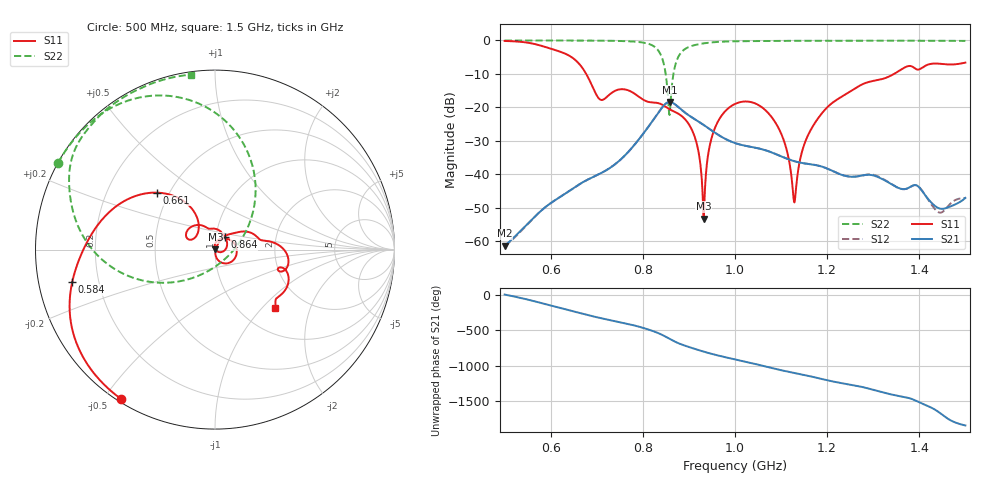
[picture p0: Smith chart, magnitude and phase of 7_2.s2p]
! TOUCHSTONE file generated by CST MICROWAVE STUDIO
! Date and time: Wed Oct 28 19:34:23 2020
! Project name: Scenario_1_Circular_Tissue_out_of_Line_v2.cst
! Parameters = {dy1=-242.2; L_HA=400; MT=2.54; Rad_Dielectric=30; Rad_Lower=7.3; Rad_Upper=30; a_HA=580; a_WG=246; b_HA=500; b_WG=121; c_HA=0; c_WG=187; d_feed=85; dx1=346; h_feed=15; h_lower=18; h_upper=40}
! Header version: 2018
! Port assignment regex: !\s*Touchstone port\s*([0-9]+)\s*=\s*(CST MWS port|CST DS port)\s*([0-9]+|Zmin|Zmax)\s*\(\"(.*)\"\)(\s*mode\s*([0-9]+))?.*
! Touchstone port assignment:
! Touchstone port 1 = CST MWS port 1 ("")
! Touchstone port 2 = CST MWS port 2 ("")
# GHz S DB R 50
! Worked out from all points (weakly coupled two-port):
!   1003 points, 500 MHz to 1.5 GHz, reference 50 ohm
!   highest |S21| = -18.39 dB at 858 MHz (marker M1); lowest = -61.4 dB at 500 MHz (marker M2)
!   lowest |S11| = -53.2 dB at 932 MHz (marker M3), VSWR 1.00, Z = 50.2 + j0.109 ohm
!   |S11| at or under -10 dB: 677 MHz to 1.345 GHz (668.2 MHz wide, 66.1 % of centre)
!   |S22| runs from -22.3 to 0.0 dB; largest |S21 - S12| = 0.00058
!   S11 on the Smith chart (normalised r, x): 500 MHz: 0.01, -0.55; 584 MHz: 0.10, -0.11; 661 MHz: 0.43, +0.34; 864 MHz: 1.10, +0.16; 1.5 GHz: 1.44, -1.19
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0.5  -0.15 -122.2  -61.36 6.9  -61.46 6.8  -0.01 151.1
0.584  -1.77 -167.3  -50.31 -121.5  -50.29 -121.6  -0.02 145.3
0.661  -6.87 135.5  -43.08 109.6  -43.09 109.5  -0.04 139.0
0.667  -7.88 130.1  -42.58 99.5  -42.59 99.4  -0.04 138.4
0.708  -17.71 140.0  -39.73 34.3  -39.73 34.3  -0.07 133.9
0.789  -16.57 116.5  -29.97 -83.2  -29.97 -83.5  -0.44 117.5
0.834  -18.76 87.7  -21.49 179.9  -21.47 179.9  -3.10 83.4
0.858  -20.57 59.2  -18.39 100.1  -18.40 100.1  -22.28 -57.8
0.864  -21.00 52.5  -18.59 78.9  -18.59 78.9  -12.32 -134.9
0.878  -21.97 33.8  -20.03 36.4  -20.03 36.3  -4.65 -170.6
0.91  -27.84 -18.7  -23.29 -36.2  -23.31 -36.1  -1.48 161.9
0.932  -53.20 29.6  -25.25 -80.4  -25.25 -80.2  -0.88 154.1
0.954  -27.05 80.4  -27.33 -120.2  -27.34 -120.0  -0.53 148.5
1  -18.97 16.6  -30.65 170.1  -30.65 170.2  -0.26 140.3
1.085  -23.96 -72.7  -33.77 39.2  -33.74 39.4  -0.14 131.2
1.11  -31.62 -84.7  -35.20 2.8  -35.16 2.9  -0.11 129.0
1.129  -48.41 -7.9  -36.09 -22.7  -36.07 -22.6  -0.10 127.3
1.167  -26.09 61.2  -37.06 -74.7  -37.06 -74.5  -0.10 124.2
1.334  -10.80 9.7  -42.50 41.7  -42.42 41.6  -0.08 111.5
1.396  -8.71 -17.4  -43.45 -65.6  -43.42 -65.1  -0.09 106.7
1.444  -6.96 -32.7  -50.21 135.4  -51.44 135.7  -0.11 102.8
1.5  -6.63 -43.9  -47.04 -44.7  -47.06 -44.6  -0.13 98.0
